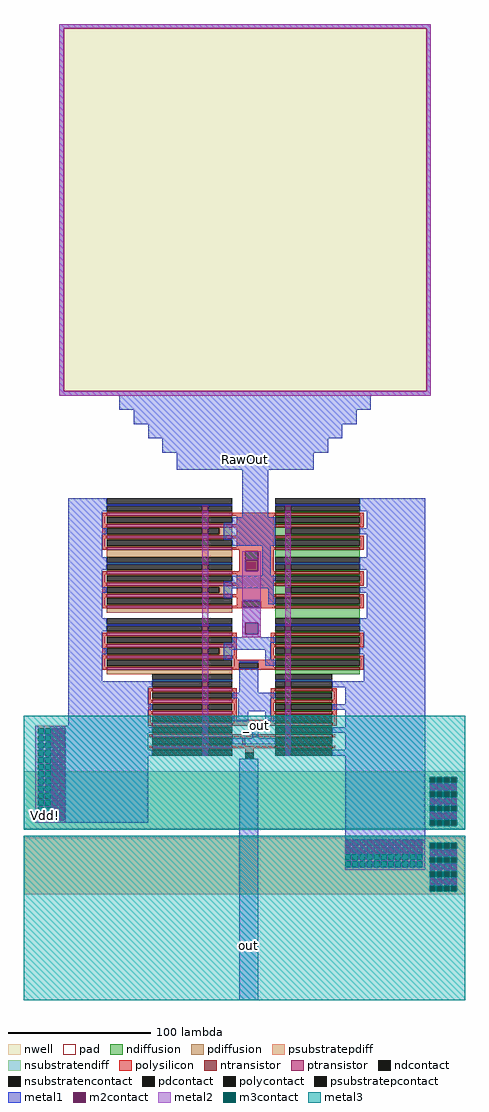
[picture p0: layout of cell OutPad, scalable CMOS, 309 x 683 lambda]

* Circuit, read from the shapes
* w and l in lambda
.subckt OutPad GND! RawOut Vdd! _out out
M1 _out out GND! GND! nfet w=40 l=2 m=2
M2 n1 _out GND! GND! nfet w=40 l=2 m=4
M3 n2 n1 GND! GND! nfet w=59 l=2 m=4
M4 RawOut n2 GND! GND! nfet w=59 l=2 m=8
M5 n2 n1 Vdd! Vdd! pfet w=88 l=2 m=4
M6 RawOut n2 n3 Vdd! pfet w=88 l=2
M7 Vdd! n2 RawOut Vdd! pfet w=88 l=2 m=7
M8 _out out Vdd! Vdd! pfet w=56 l=2 m=2
M9 n1 _out Vdd! Vdd! pfet w=56 l=2 m=4
.ends

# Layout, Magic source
magic
tech scmos
<< ntransistor >>
rect 193 313 252 315
rect 193 305 252 307
rect 193 297 252 299
rect 193 289 252 291
rect 193 272 252 274
rect 193 264 252 266
rect 193 256 252 258
rect 193 248 252 250
rect 193 229 252 231
rect 193 221 252 223
rect 193 213 252 215
rect 193 205 252 207
rect 193 190 233 192
rect 193 182 233 184
rect 193 174 233 176
rect 193 166 233 168
rect 193 158 233 160
rect 193 150 233 152
<< ptransistor >>
rect 75 313 163 315
rect 75 305 163 307
rect 75 297 163 299
rect 75 289 163 291
rect 75 272 163 274
rect 75 264 163 266
rect 75 256 163 258
rect 75 248 163 250
rect 75 229 163 231
rect 75 221 163 223
rect 75 213 163 215
rect 75 205 163 207
rect 107 190 163 192
rect 107 182 163 184
rect 107 174 163 176
rect 107 166 163 168
rect 107 158 163 160
rect 107 150 163 152
<< ndiffusion >>
rect 193 320 252 321
rect 200 316 204 320
rect 193 315 252 316
rect 193 312 252 313
rect 193 307 252 308
rect 193 304 252 305
rect 193 300 204 304
rect 193 299 252 300
rect 193 296 252 297
rect 193 291 252 292
rect 193 284 252 289
rect 193 279 252 280
rect 200 275 204 279
rect 193 274 252 275
rect 193 271 252 272
rect 193 266 252 267
rect 193 263 252 264
rect 193 259 204 263
rect 193 258 252 259
rect 193 255 252 256
rect 193 250 252 251
rect 193 241 252 248
rect 193 236 252 237
rect 200 232 204 236
rect 193 231 252 232
rect 193 228 252 229
rect 193 223 252 224
rect 193 220 252 221
rect 200 216 204 220
rect 193 215 252 216
rect 193 212 252 213
rect 193 207 252 208
rect 193 202 252 205
rect 193 197 233 198
rect 200 193 204 197
rect 193 192 233 193
rect 193 189 233 190
rect 193 184 233 185
rect 193 181 233 182
rect 200 177 204 181
rect 193 176 233 177
rect 193 173 233 174
rect 193 168 233 169
rect 193 165 233 166
rect 200 161 204 165
rect 193 160 233 161
rect 193 157 233 158
rect 193 152 233 153
rect 193 149 233 150
rect 200 145 204 149
<< pdiffusion >>
rect 75 320 163 321
rect 142 316 146 320
rect 75 315 163 316
rect 75 312 163 313
rect 75 307 163 308
rect 75 304 163 305
rect 142 300 146 304
rect 154 300 163 304
rect 75 299 163 300
rect 75 296 163 297
rect 75 291 163 292
rect 75 284 163 289
rect 75 279 163 280
rect 142 275 146 279
rect 75 274 163 275
rect 75 271 163 272
rect 75 266 163 267
rect 75 263 163 264
rect 142 259 146 263
rect 154 259 163 263
rect 75 258 163 259
rect 75 255 163 256
rect 75 250 163 251
rect 75 245 163 248
rect 75 236 163 237
rect 142 232 146 236
rect 75 231 163 232
rect 75 228 163 229
rect 75 223 163 224
rect 75 220 163 221
rect 142 216 146 220
rect 154 216 163 220
rect 75 215 163 216
rect 75 212 163 213
rect 75 207 163 208
rect 75 202 163 205
rect 107 197 163 198
rect 142 193 146 197
rect 107 192 163 193
rect 107 189 163 190
rect 107 184 163 185
rect 107 181 163 182
rect 142 177 146 181
rect 107 176 163 177
rect 107 173 163 174
rect 107 168 163 169
rect 107 165 163 166
rect 142 161 146 165
rect 107 160 163 161
rect 107 157 163 158
rect 107 152 163 153
rect 107 149 163 150
rect 142 145 146 149
<< ndcontact >>
rect 193 316 200 320
rect 204 316 252 320
rect 193 308 252 312
rect 204 300 252 304
rect 193 292 252 296
rect 193 275 200 279
rect 204 275 252 279
rect 193 267 252 271
rect 204 259 252 263
rect 193 251 252 255
rect 193 232 200 236
rect 204 232 252 236
rect 193 224 252 228
rect 193 216 200 220
rect 204 216 252 220
rect 193 208 252 212
rect 193 193 200 197
rect 204 193 233 197
rect 193 185 233 189
rect 193 177 200 181
rect 204 177 233 181
rect 193 169 233 173
rect 193 161 200 165
rect 204 161 233 165
rect 193 153 233 157
rect 193 145 200 149
rect 204 145 233 149
<< pdcontact >>
rect 75 316 142 320
rect 146 316 163 320
rect 75 308 163 312
rect 75 300 142 304
rect 146 300 154 304
rect 75 292 163 296
rect 75 275 142 279
rect 146 275 163 279
rect 75 267 163 271
rect 75 259 142 263
rect 146 259 154 263
rect 75 251 163 255
rect 75 232 142 236
rect 146 232 163 236
rect 75 224 163 228
rect 75 216 142 220
rect 146 216 154 220
rect 75 208 163 212
rect 107 193 142 197
rect 146 193 163 197
rect 107 185 163 189
rect 107 177 142 181
rect 146 177 163 181
rect 107 169 163 173
rect 107 161 142 165
rect 146 161 163 165
rect 107 153 163 157
rect 107 145 142 149
rect 146 145 163 149
<< psubstratepcontact >>
rect 193 321 252 325
rect 193 280 252 284
rect 193 237 252 241
rect 193 198 233 202
<< nsubstratencontact >>
rect 75 321 163 325
rect 75 280 163 284
rect 75 237 163 241
rect 107 198 163 202
<< polysilicon >>
rect 72 313 75 315
rect 163 313 193 315
rect 252 313 255 315
rect 72 307 74 313
rect 166 307 192 313
rect 253 307 255 313
rect 72 305 75 307
rect 163 305 193 307
rect 252 305 255 307
rect 72 299 74 305
rect 166 299 192 305
rect 72 297 75 299
rect 163 297 193 299
rect 252 297 255 299
rect 72 291 74 297
rect 166 291 192 297
rect 253 291 255 297
rect 72 289 75 291
rect 163 289 193 291
rect 252 289 255 291
rect 168 288 192 289
rect 168 282 172 288
rect 181 282 192 288
rect 168 274 192 282
rect 72 272 75 274
rect 163 272 193 274
rect 252 272 255 274
rect 72 266 74 272
rect 166 266 192 272
rect 253 266 255 272
rect 72 264 75 266
rect 163 264 193 266
rect 252 264 255 266
rect 72 258 74 264
rect 166 258 192 264
rect 72 256 75 258
rect 163 256 193 258
rect 252 256 255 258
rect 72 250 74 256
rect 166 253 192 256
rect 166 250 170 253
rect 72 248 75 250
rect 163 249 170 250
rect 183 250 192 253
rect 253 250 255 256
rect 183 249 193 250
rect 163 248 193 249
rect 252 248 255 250
rect 72 229 75 231
rect 163 229 166 231
rect 72 223 74 229
rect 164 223 166 229
rect 72 221 75 223
rect 163 221 166 223
rect 72 215 74 221
rect 164 215 166 221
rect 72 213 75 215
rect 163 213 166 215
rect 72 207 74 213
rect 164 212 166 213
rect 190 229 193 231
rect 252 229 255 231
rect 190 223 192 229
rect 253 223 255 229
rect 190 221 193 223
rect 252 221 255 223
rect 190 215 192 221
rect 190 213 193 215
rect 252 213 255 215
rect 190 212 192 213
rect 164 210 192 212
rect 164 207 168 210
rect 72 205 75 207
rect 163 206 168 207
rect 181 207 192 210
rect 253 207 255 213
rect 181 206 193 207
rect 163 205 193 206
rect 252 205 255 207
rect 104 190 107 192
rect 163 190 166 192
rect 104 184 106 190
rect 164 184 166 190
rect 104 182 107 184
rect 163 182 166 184
rect 104 176 106 182
rect 164 176 166 182
rect 104 174 107 176
rect 163 174 166 176
rect 104 168 106 174
rect 164 170 166 174
rect 190 190 193 192
rect 233 190 236 192
rect 190 184 192 190
rect 234 184 236 190
rect 190 182 193 184
rect 233 182 236 184
rect 190 176 192 182
rect 234 176 236 182
rect 190 174 193 176
rect 233 174 236 176
rect 190 170 192 174
rect 164 168 192 170
rect 234 168 236 174
rect 104 166 107 168
rect 163 166 177 168
rect 183 166 193 168
rect 233 166 236 168
rect 105 158 107 160
rect 163 158 193 160
rect 233 158 235 160
rect 170 152 172 158
rect 105 150 107 152
rect 163 150 193 152
rect 233 150 235 152
rect 172 147 178 150
<< polycontact >>
rect 172 282 181 288
rect 170 249 183 253
rect 168 206 181 210
rect 177 164 183 168
rect 172 143 178 147
<< metal1 >>
rect 114 357 230 366
rect 124 345 220 357
rect 48 321 75 325
rect 48 320 163 321
rect 48 316 75 320
rect 48 304 72 316
rect 170 312 188 345
rect 252 321 298 325
rect 193 320 298 321
rect 252 316 298 320
rect 163 308 193 312
rect 48 300 75 304
rect 48 284 72 300
rect 157 296 193 308
rect 257 304 298 316
rect 252 300 298 304
rect 163 292 193 296
rect 48 280 75 284
rect 48 279 163 280
rect 48 275 75 279
rect 48 263 72 275
rect 184 271 190 292
rect 257 284 298 300
rect 252 280 298 284
rect 193 279 298 280
rect 252 275 298 279
rect 163 267 193 271
rect 48 259 75 263
rect 157 262 192 267
rect 257 263 298 275
rect 48 241 72 259
rect 157 255 163 262
rect 188 255 192 262
rect 252 259 298 263
rect 170 253 183 254
rect 188 251 193 255
rect 48 237 75 241
rect 48 236 163 237
rect 48 232 75 236
rect 170 238 183 249
rect 257 241 298 259
rect 48 220 72 232
rect 170 230 172 238
rect 181 230 183 238
rect 252 237 298 241
rect 193 236 298 237
rect 252 232 298 236
rect 170 228 183 230
rect 163 224 193 228
rect 48 216 75 220
rect 157 219 190 224
rect 255 220 298 232
rect 48 197 72 216
rect 157 212 163 219
rect 186 212 190 219
rect 252 216 298 220
rect 168 210 181 211
rect 186 208 193 212
rect 107 197 163 198
rect 48 193 107 197
rect 48 181 104 193
rect 168 189 181 206
rect 193 197 233 198
rect 255 197 298 216
rect 233 193 298 197
rect 163 185 193 189
rect 48 177 107 181
rect 48 166 104 177
rect 167 176 190 185
rect 242 181 298 193
rect 233 177 298 181
rect 167 173 174 176
rect 163 169 174 173
rect 186 173 190 176
rect 186 169 193 173
rect 36 165 104 166
rect 36 164 107 165
rect 36 160 37 164
rect 41 160 42 164
rect 46 161 107 164
rect 242 165 298 177
rect 46 160 104 161
rect 36 159 104 160
rect 36 155 37 159
rect 41 155 42 159
rect 46 155 104 159
rect 177 157 181 164
rect 233 161 298 165
rect 36 154 104 155
rect 36 150 37 154
rect 41 150 42 154
rect 46 150 104 154
rect 163 153 193 157
rect 36 149 104 150
rect 242 149 298 161
rect 36 145 37 149
rect 41 145 42 149
rect 46 145 107 149
rect 36 144 104 145
rect 36 140 37 144
rect 41 140 42 144
rect 46 140 104 144
rect 233 145 298 149
rect 36 139 104 140
rect 36 135 37 139
rect 41 135 42 139
rect 46 135 104 139
rect 36 134 104 135
rect 36 130 37 134
rect 41 130 42 134
rect 46 130 104 134
rect 36 129 104 130
rect 36 125 37 129
rect 41 125 42 129
rect 46 125 104 129
rect 36 124 104 125
rect 36 120 37 124
rect 41 120 42 124
rect 46 120 104 124
rect 36 119 104 120
rect 36 115 37 119
rect 41 115 42 119
rect 46 115 104 119
rect 36 114 104 115
rect 36 110 37 114
rect 41 110 42 114
rect 46 110 104 114
rect 36 109 104 110
rect 36 105 37 109
rect 41 105 42 109
rect 46 105 104 109
rect 36 104 104 105
rect 36 100 37 104
rect 41 100 42 104
rect 46 100 104 104
rect 36 98 104 100
rect 168 -26 181 143
rect 242 86 298 145
rect 246 82 247 86
rect 251 82 252 86
rect 256 82 257 86
rect 261 82 262 86
rect 266 82 267 86
rect 271 82 272 86
rect 276 82 277 86
rect 281 82 282 86
rect 286 82 287 86
rect 291 82 292 86
rect 296 82 298 86
rect 242 81 298 82
rect 246 77 247 81
rect 251 77 252 81
rect 256 77 257 81
rect 261 77 262 81
rect 266 77 267 81
rect 271 77 272 81
rect 276 77 277 81
rect 281 77 282 81
rect 286 77 287 81
rect 291 77 292 81
rect 296 77 298 81
rect 242 76 298 77
<< m2contact >>
rect 142 316 146 320
rect 200 316 204 320
rect 142 300 146 304
rect 200 300 204 304
rect 142 275 146 279
rect 172 274 181 282
rect 200 275 204 279
rect 142 259 146 263
rect 200 259 204 263
rect 142 232 146 236
rect 172 230 181 238
rect 200 232 204 236
rect 142 216 146 220
rect 200 216 204 220
rect 142 193 146 197
rect 200 193 204 197
rect 142 177 146 181
rect 200 177 204 181
rect 37 160 41 164
rect 42 160 46 164
rect 142 161 146 165
rect 37 155 41 159
rect 42 155 46 159
rect 200 161 204 165
rect 37 150 41 154
rect 42 150 46 154
rect 37 145 41 149
rect 42 145 46 149
rect 142 145 146 149
rect 37 140 41 144
rect 42 140 46 144
rect 200 145 204 149
rect 37 135 41 139
rect 42 135 46 139
rect 37 130 41 134
rect 42 130 46 134
rect 37 125 41 129
rect 42 125 46 129
rect 37 120 41 124
rect 42 120 46 124
rect 37 115 41 119
rect 42 115 46 119
rect 37 110 41 114
rect 42 110 46 114
rect 37 105 41 109
rect 42 105 46 109
rect 37 100 41 104
rect 42 100 46 104
rect 242 82 246 86
rect 247 82 251 86
rect 252 82 256 86
rect 257 82 261 86
rect 262 82 266 86
rect 267 82 271 86
rect 272 82 276 86
rect 277 82 281 86
rect 282 82 286 86
rect 287 82 291 86
rect 292 82 296 86
rect 242 77 246 81
rect 247 77 251 81
rect 252 77 256 81
rect 257 77 261 81
rect 262 77 266 81
rect 267 77 271 81
rect 272 77 276 81
rect 277 77 281 81
rect 282 77 286 81
rect 287 77 291 81
rect 292 77 296 81
<< metal2 >>
rect 142 304 146 316
rect 142 279 146 300
rect 200 304 204 316
rect 142 263 146 275
rect 142 236 146 259
rect 142 220 146 232
rect 170 282 183 288
rect 170 274 172 282
rect 181 274 183 282
rect 170 238 183 274
rect 170 230 172 238
rect 181 230 183 238
rect 170 228 183 230
rect 200 279 204 300
rect 200 263 204 275
rect 200 236 204 259
rect 142 197 146 216
rect 142 181 146 193
rect 25 164 46 166
rect 25 160 27 164
rect 31 160 32 164
rect 36 160 37 164
rect 41 160 42 164
rect 25 159 46 160
rect 25 155 27 159
rect 31 155 32 159
rect 36 155 37 159
rect 41 155 42 159
rect 25 154 46 155
rect 25 150 27 154
rect 31 150 32 154
rect 36 150 37 154
rect 41 150 42 154
rect 25 149 46 150
rect 25 145 27 149
rect 31 145 32 149
rect 36 145 37 149
rect 41 145 42 149
rect 142 165 146 177
rect 142 149 146 161
rect 200 220 204 232
rect 200 197 204 216
rect 200 181 204 193
rect 200 165 204 177
rect 200 149 204 161
rect 25 144 46 145
rect 25 140 27 144
rect 31 140 32 144
rect 36 140 37 144
rect 41 140 42 144
rect 25 139 46 140
rect 25 135 27 139
rect 31 135 32 139
rect 36 135 37 139
rect 41 135 42 139
rect 25 134 46 135
rect 25 130 27 134
rect 31 130 32 134
rect 36 130 37 134
rect 41 130 42 134
rect 25 129 46 130
rect 25 125 27 129
rect 31 125 32 129
rect 36 125 37 129
rect 41 125 42 129
rect 25 124 46 125
rect 25 120 27 124
rect 31 120 32 124
rect 36 120 37 124
rect 41 120 42 124
rect 25 119 46 120
rect 25 115 27 119
rect 31 115 32 119
rect 36 115 37 119
rect 41 115 42 119
rect 25 114 46 115
rect 25 110 27 114
rect 31 110 32 114
rect 36 110 37 114
rect 41 110 42 114
rect 25 109 46 110
rect 25 105 27 109
rect 31 105 32 109
rect 36 105 37 109
rect 41 105 42 109
rect 25 104 46 105
rect 25 100 27 104
rect 31 100 32 104
rect 36 100 37 104
rect 41 100 42 104
rect 25 98 46 100
rect 246 82 247 86
rect 251 82 252 86
rect 256 82 257 86
rect 261 82 262 86
rect 266 82 267 86
rect 271 82 272 86
rect 276 82 277 86
rect 281 82 282 86
rect 286 82 287 86
rect 291 82 292 86
rect 296 82 298 86
rect 242 81 298 82
rect 246 77 247 81
rect 251 77 252 81
rect 256 77 257 81
rect 261 77 262 81
rect 266 77 267 81
rect 271 77 272 81
rect 276 77 277 81
rect 281 77 282 81
rect 286 77 287 81
rect 291 77 292 81
rect 296 77 298 81
rect 242 76 298 77
rect 246 72 247 76
rect 251 72 252 76
rect 256 72 257 76
rect 261 72 262 76
rect 266 72 267 76
rect 271 72 272 76
rect 276 72 277 76
rect 281 72 282 76
rect 286 72 287 76
rect 291 72 292 76
rect 296 72 298 76
rect 242 71 298 72
rect 246 67 247 71
rect 251 67 252 71
rect 256 67 257 71
rect 261 67 262 71
rect 266 67 267 71
rect 271 67 272 71
rect 276 67 277 71
rect 281 67 282 71
rect 286 67 287 71
rect 291 67 292 71
rect 296 67 298 71
rect 242 65 298 67
<< m3contact >>
rect 27 160 31 164
rect 32 160 36 164
rect 27 155 31 159
rect 32 155 36 159
rect 27 150 31 154
rect 32 150 36 154
rect 27 145 31 149
rect 32 145 36 149
rect 27 140 31 144
rect 32 140 36 144
rect 27 135 31 139
rect 32 135 36 139
rect 27 130 31 134
rect 32 130 36 134
rect 27 125 31 129
rect 32 125 36 129
rect 27 120 31 124
rect 32 120 36 124
rect 27 115 31 119
rect 32 115 36 119
rect 27 110 31 114
rect 32 110 36 114
rect 27 105 31 109
rect 32 105 36 109
rect 27 100 31 104
rect 32 100 36 104
rect 242 72 246 76
rect 247 72 251 76
rect 252 72 256 76
rect 257 72 261 76
rect 262 72 266 76
rect 267 72 271 76
rect 272 72 276 76
rect 277 72 281 76
rect 282 72 286 76
rect 287 72 291 76
rect 292 72 296 76
rect 242 67 246 71
rect 247 67 251 71
rect 252 67 256 71
rect 257 67 261 71
rect 262 67 266 71
rect 267 67 271 71
rect 272 67 276 71
rect 277 67 281 71
rect 282 67 286 71
rect 287 67 291 71
rect 292 67 296 71
<< metal3 >>
rect 25 164 37 166
rect 25 160 27 164
rect 31 160 32 164
rect 36 160 37 164
rect 25 159 37 160
rect 25 155 27 159
rect 31 155 32 159
rect 36 155 37 159
rect 25 154 37 155
rect 25 150 27 154
rect 31 150 32 154
rect 36 150 37 154
rect 25 149 37 150
rect 25 145 27 149
rect 31 145 32 149
rect 36 145 37 149
rect 25 144 37 145
rect 25 140 27 144
rect 31 140 32 144
rect 36 140 37 144
rect 25 139 37 140
rect 25 135 27 139
rect 31 135 32 139
rect 36 135 37 139
rect 25 134 37 135
rect 25 130 27 134
rect 31 130 32 134
rect 36 130 37 134
rect 25 129 37 130
rect 25 125 27 129
rect 31 125 32 129
rect 36 125 37 129
rect 25 124 37 125
rect 25 120 27 124
rect 31 120 32 124
rect 36 120 37 124
rect 25 119 37 120
rect 25 115 27 119
rect 31 115 32 119
rect 36 115 37 119
rect 25 114 37 115
rect 25 110 27 114
rect 31 110 32 114
rect 36 110 37 114
rect 25 109 37 110
rect 25 105 27 109
rect 31 105 32 109
rect 36 105 37 109
rect 25 104 37 105
rect 25 100 27 104
rect 31 100 32 104
rect 36 100 37 104
rect 25 97 37 100
rect 241 76 298 78
rect 241 72 242 76
rect 246 72 247 76
rect 251 72 252 76
rect 256 72 257 76
rect 261 72 262 76
rect 266 72 267 76
rect 271 72 272 76
rect 276 72 277 76
rect 281 72 282 76
rect 286 72 287 76
rect 291 72 292 76
rect 296 72 298 76
rect 241 71 298 72
rect 241 67 242 71
rect 246 67 247 71
rect 251 67 252 71
rect 256 67 257 71
rect 261 67 262 71
rect 266 67 267 71
rect 271 67 272 71
rect 276 67 277 71
rect 281 67 282 71
rect 286 67 287 71
rect 291 67 292 71
rect 296 67 298 71
rect 241 65 298 67
use barepad b
transform 1 0 26 0 1 -357
box 16 702 276 1014
use barering br
transform 1 0 15 0 1 -3
box 2 -23 311 176
<< labels >>
rlabel metal3 32 103 32 103 1 Vdd!
rlabel metal1 174 12 174 12 1 out
rlabel polycontact 180 166 180 166 1 _out
rlabel metal1 172 352 172 352 1 RawOut
<< end >>

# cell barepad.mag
magic
tech scmos
<< nwell >>
rect 16 754 276 1014
<< metal1 >>
rect 16 1011 276 1014
rect 16 757 19 1011
rect 273 757 276 1011
rect 16 754 276 757
rect 58 744 234 754
rect 68 734 224 744
rect 78 724 214 734
rect 88 714 204 724
rect 98 702 194 714
<< metal2 >>
rect 16 1011 276 1014
rect 16 757 19 1011
rect 273 757 276 1011
rect 16 754 276 757
<< pad >>
rect 19 757 273 1011
<< end >>

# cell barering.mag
magic
tech scmos
<< psubstratepdiff >>
rect 2 87 311 91
rect 2 83 286 87
rect 290 83 291 87
rect 295 83 296 87
rect 300 83 301 87
rect 305 83 311 87
rect 2 77 311 83
rect 2 73 286 77
rect 290 73 291 77
rect 295 73 296 77
rect 300 73 301 77
rect 305 73 311 77
rect 2 67 311 73
rect 2 63 286 67
rect 290 63 291 67
rect 295 63 296 67
rect 300 63 301 67
rect 305 63 311 67
rect 2 57 311 63
rect 2 53 286 57
rect 290 53 291 57
rect 295 53 296 57
rect 300 53 301 57
rect 305 53 311 57
rect 2 51 311 53
<< nsubstratendiff >>
rect 2 133 311 137
rect 2 129 286 133
rect 290 129 291 133
rect 295 129 296 133
rect 300 129 301 133
rect 305 129 311 133
rect 2 123 311 129
rect 2 119 286 123
rect 290 119 291 123
rect 295 119 296 123
rect 300 119 301 123
rect 305 119 311 123
rect 2 113 311 119
rect 2 109 286 113
rect 290 109 291 113
rect 295 109 296 113
rect 300 109 301 113
rect 305 109 311 113
rect 2 103 311 109
rect 2 99 286 103
rect 290 99 291 103
rect 295 99 296 103
rect 300 99 301 103
rect 305 99 311 103
rect 2 97 311 99
<< psubstratepcontact >>
rect 286 83 290 87
rect 291 83 295 87
rect 296 83 300 87
rect 301 83 305 87
rect 286 73 290 77
rect 291 73 295 77
rect 296 73 300 77
rect 301 73 305 77
rect 286 63 290 67
rect 291 63 295 67
rect 296 63 300 67
rect 301 63 305 67
rect 286 53 290 57
rect 291 53 295 57
rect 296 53 300 57
rect 301 53 305 57
<< nsubstratencontact >>
rect 286 129 290 133
rect 291 129 295 133
rect 296 129 300 133
rect 301 129 305 133
rect 286 119 290 123
rect 291 119 295 123
rect 296 119 300 123
rect 301 119 305 123
rect 286 109 290 113
rect 291 109 295 113
rect 296 109 300 113
rect 301 109 305 113
rect 286 99 290 103
rect 291 99 295 103
rect 296 99 300 103
rect 301 99 305 103
<< metal1 >>
rect 290 129 291 133
rect 295 129 296 133
rect 300 129 301 133
rect 286 128 305 129
rect 290 124 291 128
rect 295 124 296 128
rect 300 124 301 128
rect 286 123 305 124
rect 290 119 291 123
rect 295 119 296 123
rect 300 119 301 123
rect 286 118 305 119
rect 290 114 291 118
rect 295 114 296 118
rect 300 114 301 118
rect 286 113 305 114
rect 290 109 291 113
rect 295 109 296 113
rect 300 109 301 113
rect 286 108 305 109
rect 290 104 291 108
rect 295 104 296 108
rect 300 104 301 108
rect 286 103 305 104
rect 290 99 291 103
rect 295 99 296 103
rect 300 99 301 103
rect 290 83 291 87
rect 295 83 296 87
rect 300 83 301 87
rect 286 82 305 83
rect 290 78 291 82
rect 295 78 296 82
rect 300 78 301 82
rect 286 77 305 78
rect 290 73 291 77
rect 295 73 296 77
rect 300 73 301 77
rect 286 72 305 73
rect 290 68 291 72
rect 295 68 296 72
rect 300 68 301 72
rect 286 67 305 68
rect 290 63 291 67
rect 295 63 296 67
rect 300 63 301 67
rect 286 62 305 63
rect 290 58 291 62
rect 295 58 296 62
rect 300 58 301 62
rect 286 57 305 58
rect 290 53 291 57
rect 295 53 296 57
rect 300 53 301 57
<< m2contact >>
rect 286 124 290 128
rect 291 124 295 128
rect 296 124 300 128
rect 301 124 305 128
rect 286 114 290 118
rect 291 114 295 118
rect 296 114 300 118
rect 301 114 305 118
rect 286 104 290 108
rect 291 104 295 108
rect 296 104 300 108
rect 301 104 305 108
rect 286 78 290 82
rect 291 78 295 82
rect 296 78 300 82
rect 301 78 305 82
rect 286 68 290 72
rect 291 68 295 72
rect 296 68 300 72
rect 301 68 305 72
rect 286 58 290 62
rect 291 58 295 62
rect 296 58 300 62
rect 301 58 305 62
<< metal2 >>
rect 290 129 291 133
rect 295 129 296 133
rect 300 129 301 133
rect 286 128 305 129
rect 290 124 291 128
rect 295 124 296 128
rect 300 124 301 128
rect 286 123 305 124
rect 290 119 291 123
rect 295 119 296 123
rect 300 119 301 123
rect 286 118 305 119
rect 290 114 291 118
rect 295 114 296 118
rect 300 114 301 118
rect 286 113 305 114
rect 290 109 291 113
rect 295 109 296 113
rect 300 109 301 113
rect 286 108 305 109
rect 290 104 291 108
rect 295 104 296 108
rect 300 104 301 108
rect 286 103 305 104
rect 290 99 291 103
rect 295 99 296 103
rect 300 99 301 103
rect 290 83 291 87
rect 295 83 296 87
rect 300 83 301 87
rect 286 82 305 83
rect 290 78 291 82
rect 295 78 296 82
rect 300 78 301 82
rect 286 77 305 78
rect 290 73 291 77
rect 295 73 296 77
rect 300 73 301 77
rect 286 72 305 73
rect 290 68 291 72
rect 295 68 296 72
rect 300 68 301 72
rect 286 67 305 68
rect 290 63 291 67
rect 295 63 296 67
rect 300 63 301 67
rect 286 62 305 63
rect 290 58 291 62
rect 295 58 296 62
rect 300 58 301 62
rect 286 57 305 58
rect 290 53 291 57
rect 295 53 296 57
rect 300 53 301 57
<< m3contact >>
rect 286 129 290 133
rect 291 129 295 133
rect 296 129 300 133
rect 301 129 305 133
rect 286 119 290 123
rect 291 119 295 123
rect 296 119 300 123
rect 301 119 305 123
rect 286 109 290 113
rect 291 109 295 113
rect 296 109 300 113
rect 301 109 305 113
rect 286 99 290 103
rect 291 99 295 103
rect 296 99 300 103
rect 301 99 305 103
rect 286 83 290 87
rect 291 83 295 87
rect 296 83 300 87
rect 301 83 305 87
rect 286 73 290 77
rect 291 73 295 77
rect 296 73 300 77
rect 301 73 305 77
rect 286 63 290 67
rect 291 63 295 67
rect 296 63 300 67
rect 301 63 305 67
rect 286 53 290 57
rect 291 53 295 57
rect 296 53 300 57
rect 301 53 305 57
<< metal3 >>
rect 2 133 311 176
rect 2 129 286 133
rect 290 129 291 133
rect 295 129 296 133
rect 300 129 301 133
rect 305 129 311 133
rect 2 123 311 129
rect 2 119 286 123
rect 290 119 291 123
rect 295 119 296 123
rect 300 119 301 123
rect 305 119 311 123
rect 2 113 311 119
rect 2 109 286 113
rect 290 109 291 113
rect 295 109 296 113
rect 300 109 301 113
rect 305 109 311 113
rect 2 103 311 109
rect 2 99 286 103
rect 290 99 291 103
rect 295 99 296 103
rect 300 99 301 103
rect 305 99 311 103
rect 2 96 311 99
rect 2 87 311 92
rect 2 83 286 87
rect 290 83 291 87
rect 295 83 296 87
rect 300 83 301 87
rect 305 83 311 87
rect 2 77 311 83
rect 2 73 286 77
rect 290 73 291 77
rect 295 73 296 77
rect 300 73 301 77
rect 305 73 311 77
rect 2 67 311 73
rect 2 63 286 67
rect 290 63 291 67
rect 295 63 296 67
rect 300 63 301 67
rect 305 63 311 67
rect 2 57 311 63
rect 2 53 286 57
rect 290 53 291 57
rect 295 53 296 57
rect 300 53 301 57
rect 305 53 311 57
rect 2 -23 311 53
<< labels >>
rlabel metal3 16 107 16 107 1 Vdd!
rlabel metal3 15 81 15 81 1 GND!
<< end >>
